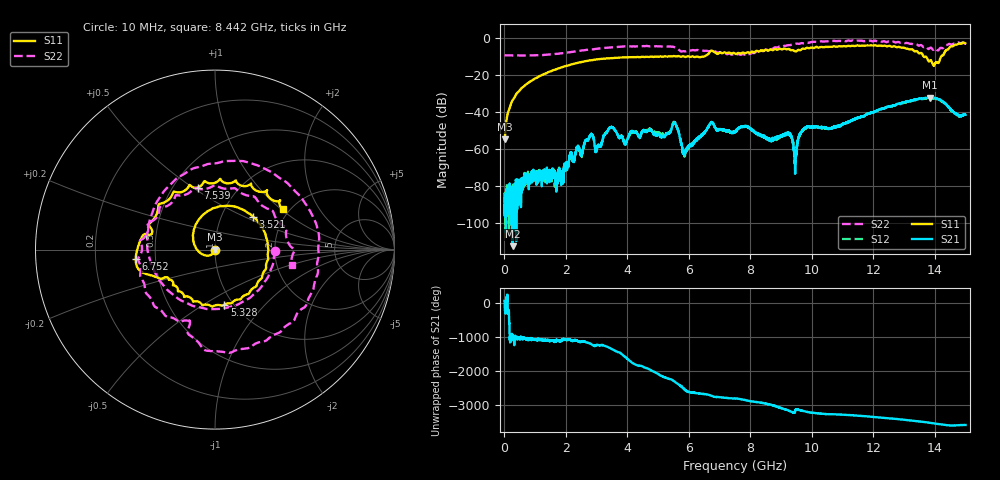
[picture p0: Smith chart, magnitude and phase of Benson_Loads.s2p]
!	Fieldfox Controller
!	Chapman University - Class ENG398
!	Introduction to RF - DMG (2024)
!Created with skrf (http://scikit-rf.org).
# Hz S RI R 50.0
!freq ReS11 ImS11 ReS21 ImS21 ReS12 ImS12 ReS22 ImS22
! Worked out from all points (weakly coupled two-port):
!   4001 points, 10 MHz to 15 GHz, reference 50 ohm
!   highest |S21| = -32.28 dB at 13.85 GHz (marker M1); lowest = -112.3 dB at 268.6 MHz (marker M2)
!   lowest |S11| = -54.8 dB at 10 MHz (marker M3), VSWR 1.00, Z = 49.8 - j0.0472 ohm
!   |S11| at or under -10 dB: start of sweep to 5.494 GHz; 5.683 GHz to 6.526 GHz (843.2 MHz wide, 13.8 % of centre); 13.63 GHz to 14.22 GHz (589.9 MHz wide, 4.24 % of centre)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
!   |S22| runs from -9.7 to -1.6 dB; largest |S21 - S12| = 0.0013
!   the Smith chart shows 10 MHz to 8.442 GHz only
!   S11 on the Smith chart (normalised r, x): 10 MHz: 1.00, -0.00; 3.521 GHz: 1.40, +0.56; 5.328 GHz: 0.91, -0.62; 6.752 GHz: 0.39, -0.05; 7.539 GHz: 0.66, +0.52; 8.442 GHz: 1.84, +1.02
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1e7  -0.00175 -0.000474  1.11e-05 2.97e-05  1.18e-05 -2.09e-05  0.3336 -0.00524
2.685775e8  -0.00795 -0.0191  1.33e-06 2.05e-06  6.84e-05 -1.41e-05  0.2994 -0.144
1.872508e9  -0.1194 0.1055  0.000129 1.87e-05  8.87e-05 -7.93e-05  -0.3775 0.0177
2.509582e9  -0.0369 0.2165  0.000396 -0.000534  0.000444 -0.000535  -0.2229 0.3888
3.521408e9  0.2103 0.1842  0.000771 0.00379  0.00079 0.00372  0.3964 0.3764
3.933632e9  0.282 0.0807  -0.00114 -0.00079  -0.00128 -0.000722  0.5596 0.1547
5.009165e9  0.1608 -0.2574  0.000886 0.00235  0.000938 0.00265  0.3196 -0.4809
5.327702e9  0.0519 -0.3065  0.00116 -0.00249  0.00127 -0.00248  0.1061 -0.5652
5.560048e9  -0.0288 -0.3109  -0.0048 -0.00107  -0.00508 -0.000887  -0.0881 -0.5223
5.87109e9  -0.1303 -0.2736  0.000572 -0.000378  0.000611 -0.000291  -0.141 -0.4017
6.751752e9  -0.4418 -0.052  -0.00434 0.00282  -0.00437 0.00306  -0.4194 -0.0351
7.505e9  -0.1249 0.3481  0.000912 0.00261  0.00095 0.00288  -0.0926 0.3388
7.538728e9  -0.0964 0.3459  0.000965 0.00299  0.00109 0.00296  -0.0578 0.3367
8.441875e9  0.3762 0.2243  0.000859 -0.0022  0.000723 -0.00205  0.4284 -0.0862
9.247588e9  0.4301 -0.2428  0.000744 0.00263  0.000753 0.00247  0.0699 -0.6221
9.472438e9  0.3223 -0.2685  8.47e-05 0.000425  0.000255 0.000309  -0.1379 -0.6591
1.000458e10  0.1572 -0.5178  0.00392 0.000886  0.00371 0.000919  -0.5647 -0.5117
1.126749e10  -0.573 -0.1348  0.00303 -0.00505  0.00287 -0.00493  -0.7125 0.3967
1.250416e10  -0.2759 0.5289  -0.0125 -0.00626  -0.0125 -0.0058  -0.0365 0.789
1.385326e10  0.1608 0.1779  0.00738 0.0232  0.00722 0.0224  0.4277 0.3157
1.431421e10  0.0249 0.3795  0.0173 0.00375  0.0168 0.00361  0.443 0.3663
1.5e10  0.6819 0.148  0.00829 0.00128  0.00836 0.00173  0.6705 -0.0699
